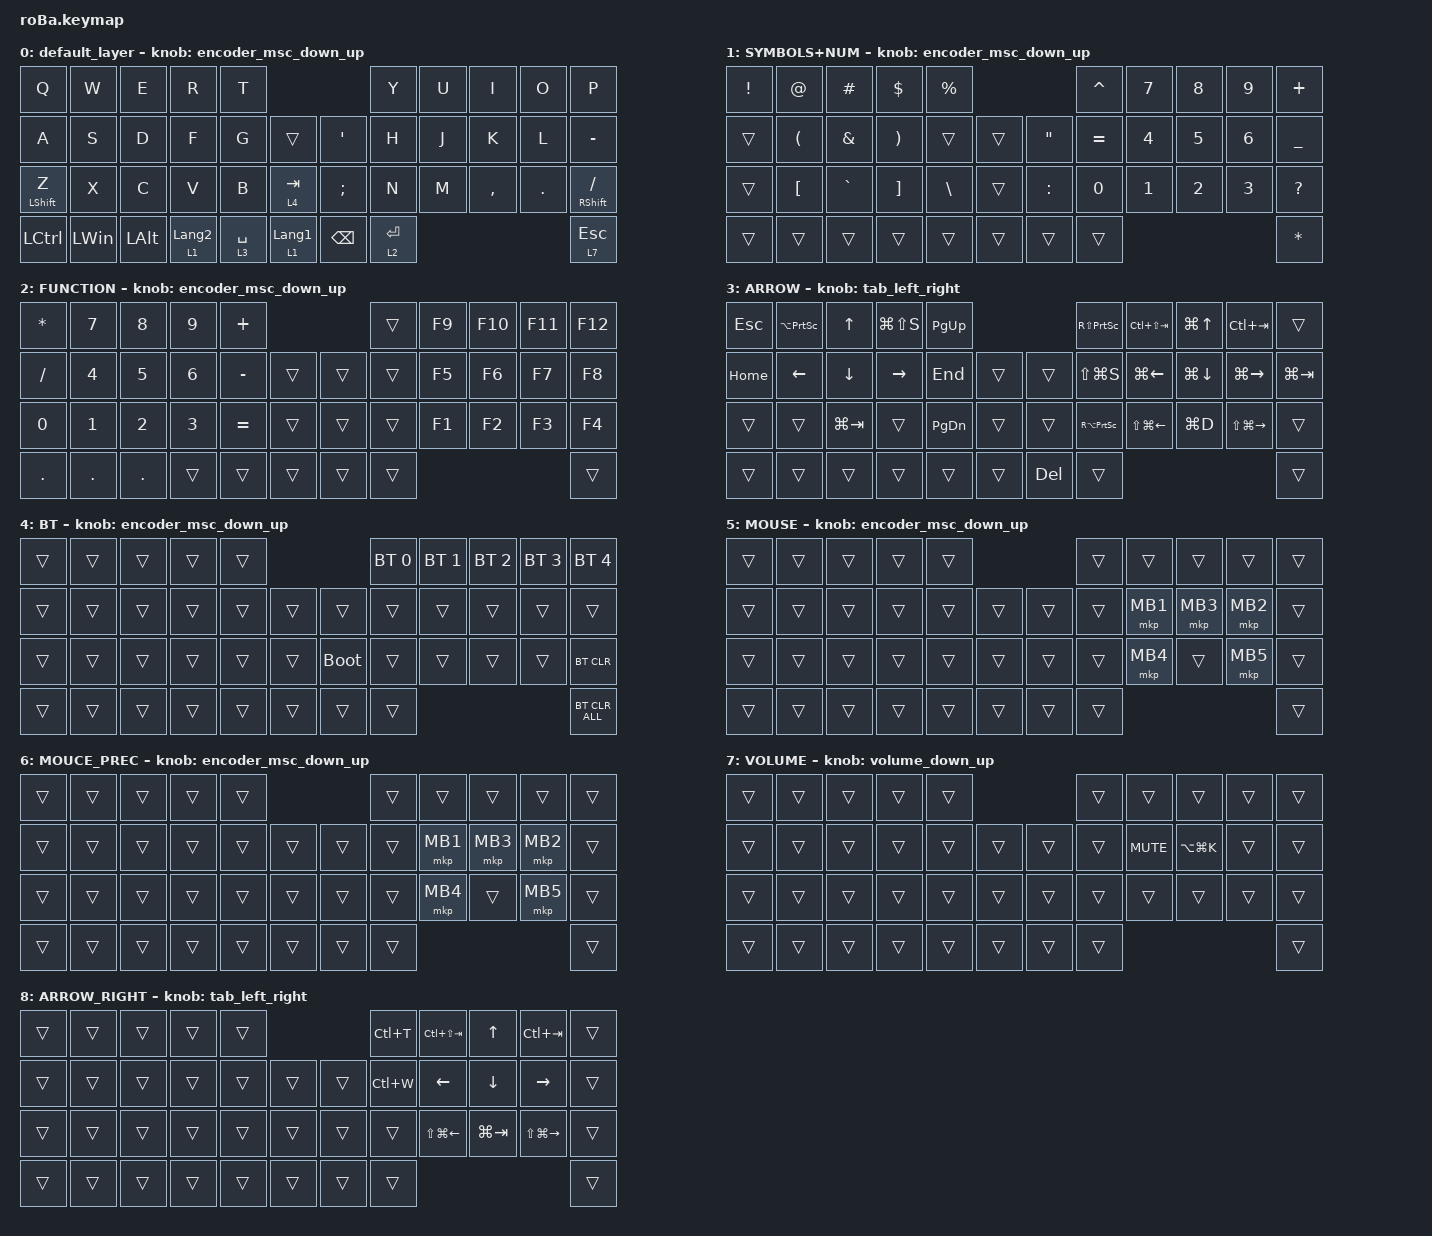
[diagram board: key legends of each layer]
#include <behaviors.dtsi>
#include <dt-bindings/zmk/bt.h>
#include <dt-bindings/zmk/keys.h>
#include <dt-bindings/zmk/pointing.h>

#define ZMK_POINTING_DEFAULT_SCRL_VAL 80

&mt {
    flavor = "balanced";
    quick-tap-ms = <0>;
};

&trackball {
    // scroll-layers = <3>;
    // automouse-layer = <5>;
};

/ {
    combos {
        compatible = "zmk,combos";

        trackball_scroll_1 {
            bindings = <&mo 3>;
            key-positions = <19 8>;
        };

        trackball_scroll_2 {
            bindings = <&mo 3>;
            key-positions = <19 18>;
        };

        precision_operation {
            bindings = <&mo 6>;
            key-positions = <19 20>;
        };

        arrow_right {
            bindings = <&mo 8>;
            key-positions = <41 21>;
        };

        arrow {
            bindings = <&mo 3>;
            key-positions = <40 21>;
        };
    };

    macros {
        to_layer_0: to_layer_0 {
            compatible = "zmk,behavior-macro-one-param";
            #binding-cells = <1>;
            bindings = <&to 0 &macro_param_1to1 &kp MACRO_PLACEHOLDER>;
            label = "TO_LAYER_0";
        };

        mul_symbol: mul_symbol {
            compatible = "zmk,behavior-macro";
            #binding-cells = <0>;
            bindings =
                <&macro_tap>,
                <&kp LS(CAPSLOCK)>,
                <&macro_press>,
                <&kp LEFT_ALT>,
                <&macro_tap>,
                <&kp KP_NUMBER_0 &kp KP_NUMBER_2 &kp KP_NUMBER_1 &kp KP_NUMBER_5>,
                <&macro_release>,
                <&kp LEFT_ALT>,
                <&macro_tap>,
                <&kp LS(CAPSLOCK)>;

            label = "MUL_SYMBOL";
        };

        div_symbol: div_symbol {
            compatible = "zmk,behavior-macro";
            #binding-cells = <0>;
            bindings =
                <&macro_press>,
                <&kp LEFT_ALT>,
                <&macro_tap>,
                <&kp KP_NUMBER_0 &kp KP_NUMBER_2 &kp KP_NUMBER_4 &kp KP_NUMBER_7>,
                <&macro_release>,
                <&kp LEFT_ALT>;

            label = "DIV_SYMBOL";
        };
    };

    behaviors {
        lt_to_layer_0: lt_to_layer_0 {
            compatible = "zmk,behavior-hold-tap";
            label = "LAYER_TAP_TO_0";
            bindings = <&mo>, <&to_layer_0>;

            #binding-cells = <2>;
            tapping-term-ms = <200>;
        };

        encoder_msc_down_up: encoder_msc_down_up {
            compatible = "zmk,behavior-sensor-rotate";
            label = "ENCODER_MSC_DOWN_UP";
            #sensor-binding-cells = <0>;
            bindings = <&msc SCRL_DOWN>, <&msc SCRL_UP>;

            tap-ms = <20>;
        };

        volume_down_up: volume_down_up {
            compatible = "zmk,behavior-sensor-rotate";
            label = "VOLUME_DOWN_UP";
            #sensor-binding-cells = <0>;
            bindings = <&kp C_VOLUME_DOWN>, <&kp C_VOLUME_UP>;

            tap-ms = <20>;
        };

        tab_left_right: tab_left_right {
            compatible = "zmk,behavior-sensor-rotate";
            label = "TAB_LEFT_RIGHT";
            #sensor-binding-cells = <0>;
            bindings = <&kp LC(LS(TAB))>, <&kp LC(TAB)>;

            tap-ms = <20>;
        };
    };

    keymap {
        compatible = "zmk,keymap";

        default_layer {
            bindings = <
&kp Q             &kp W         &kp E         &kp R             &kp T                                             &kp Y        &kp U  &kp I      &kp O    &kp P
&kp A             &kp S         &kp D         &kp F             &kp G        &trans                &kp SQT        &kp H        &kp J  &kp K      &kp L    &kp MINUS
&mt LEFT_SHIFT Z  &kp X         &kp C         &kp V             &kp B        &lt 4 TAB             &kp SEMICOLON  &kp N        &kp M  &kp COMMA  &kp DOT  &mt RIGHT_SHIFT SLASH
&kp LCTRL         &kp LEFT_WIN  &kp LEFT_ALT  &lt 1 LANGUAGE_2  &lt 3 SPACE  &lt 1 LANGUAGE_1      &kp BACKSPACE  &lt 2 ENTER                             &lt 7 ESCAPE
            >;

            sensor-bindings = <&encoder_msc_down_up>;
        };

        SYMBOLS+NUM {
            bindings = <
&kp EXCLAMATION  &kp AT_SIGN           &kp HASH       &kp DOLLAR             &kp PERCENT                                   &kp CARET  &kp N7  &kp N8  &kp N9  &kp PLUS
&trans           &kp LEFT_PARENTHESIS  &kp AMPERSAND  &kp RIGHT_PARENTHESIS  &trans         &trans      &kp DOUBLE_QUOTES  &kp EQUAL  &kp N4  &kp N5  &kp N6  &kp UNDER
&trans           &kp LEFT_BRACKET      &kp GRAVE      &kp RIGHT_BRACKET      &kp BACKSLASH  &trans      &kp COLON          &kp N0     &kp N1  &kp N2  &kp N3  &kp QUESTION
&trans           &trans                &trans         &trans                 &trans         &trans      &trans             &trans                             &kp ASTERISK
            >;

            sensor-bindings = <&encoder_msc_down_up>;
        };

        FUNCTION {
            bindings = <
&kp ASTERISK  &kp N7   &kp N8   &kp N9  &kp PLUS                       &trans  &kp F9  &kp F10  &kp F11  &kp F12
&kp FSLH      &kp N4   &kp N5   &kp N6  &kp MINUS  &trans      &trans  &trans  &kp F5  &kp F6   &kp F7   &kp F8
&kp N0        &kp N1   &kp N2   &kp N3  &kp EQUAL  &trans      &trans  &trans  &kp F1  &kp F2   &kp F3   &kp F4
&kp DOT       &kp DOT  &kp DOT  &trans  &trans     &trans      &trans  &trans                            &trans
            >;

            sensor-bindings = <&encoder_msc_down_up>;
        };

        ARROW {
            bindings = <
&kp ESCAPE  &kp LA(PRINTSCREEN)  &kp UP_ARROW    &kp LG(LS(S))    &kp PAGE_UP                            &kp RS(PSCRN)  &kp LC(LS(TAB))   &kp LG(UP)    &kp LC(TAB)        &trans
&kp HOME    &kp LEFT_ARROW       &kp DOWN_ARROW  &kp RIGHT_ARROW  &kp END        &trans      &trans      &kp LS(LG(S))  &kp LG(LEFT)      &kp LG(DOWN)  &kp LG(RIGHT)      &kp LG(TAB)
&trans      &trans               &kp LG(TAB)     &trans           &kp PAGE_DOWN  &trans      &trans      &kp RA(PSCRN)  &kp LS(LG(LEFT))  &kp LG(D)     &kp LS(LG(RIGHT))  &trans
&trans      &trans               &trans          &trans           &trans         &trans      &kp DELETE  &trans                                                            &trans
            >;

            sensor-bindings = <&tab_left_right>;
        };

        BT {
            bindings = <
&trans  &trans  &trans  &trans  &trans                           &bt BT_SEL 0  &bt BT_SEL 1  &bt BT_SEL 2  &bt BT_SEL 3  &bt BT_SEL 4
&trans  &trans  &trans  &trans  &trans  &trans      &trans       &trans        &trans        &trans        &trans        &trans
&trans  &trans  &trans  &trans  &trans  &trans      &bootloader  &trans        &trans        &trans        &trans        &bt BT_CLR
&trans  &trans  &trans  &trans  &trans  &trans      &trans       &trans                                                  &bt BT_CLR_ALL
            >;

            sensor-bindings = <&encoder_msc_down_up>;
        };

        MOUSE {
            bindings = <
&trans  &trans  &trans  &trans  &trans                      &trans  &trans    &trans    &trans    &trans
&trans  &trans  &trans  &trans  &trans  &trans      &trans  &trans  &mkp MB1  &mkp MB3  &mkp MB2  &trans
&trans  &trans  &trans  &trans  &trans  &trans      &trans  &trans  &mkp MB4  &trans    &mkp MB5  &trans
&trans  &trans  &trans  &trans  &trans  &trans      &trans  &trans                                &trans
            >;

            sensor-bindings = <&encoder_msc_down_up>;
        };

        MOUCE_PREC {
            bindings = <
&trans  &trans  &trans  &trans  &trans                      &trans  &trans    &trans    &trans    &trans
&trans  &trans  &trans  &trans  &trans  &trans      &trans  &trans  &mkp MB1  &mkp MB3  &mkp MB2  &trans
&trans  &trans  &trans  &trans  &trans  &trans      &trans  &trans  &mkp MB4  &trans    &mkp MB5  &trans
&trans  &trans  &trans  &trans  &trans  &trans      &trans  &trans                                &trans
            >;

            sensor-bindings = <&encoder_msc_down_up>;
        };

        VOLUME {
            bindings = <
&trans  &trans  &trans  &trans  &trans                      &trans  &trans      &trans         &trans  &trans
&trans  &trans  &trans  &trans  &trans  &trans      &trans  &trans  &kp C_MUTE  &kp LA(LG(K))  &trans  &trans
&trans  &trans  &trans  &trans  &trans  &trans      &trans  &trans  &trans      &trans         &trans  &trans
&trans  &trans  &trans  &trans  &trans  &trans      &trans  &trans                                     &trans
            >;

            sensor-bindings = <&volume_down_up>;
        };

        ARROW_RIGHT {
            bindings = <
&trans  &trans  &trans  &trans  &trans                      &kp LC(T)  &kp LC(LS(TAB))   &kp UP       &kp LC(TAB)        &trans
&trans  &trans  &trans  &trans  &trans  &trans      &trans  &kp LC(W)  &kp LEFT          &kp DOWN     &kp RIGHT          &trans
&trans  &trans  &trans  &trans  &trans  &trans      &trans  &trans     &kp LS(LG(LEFT))  &kp LG(TAB)  &kp LS(LG(RIGHT))  &trans
&trans  &trans  &trans  &trans  &trans  &trans      &trans  &trans                                                       &trans
            >;

            sensor-bindings = <&tab_left_right>;
        };
    };
};
